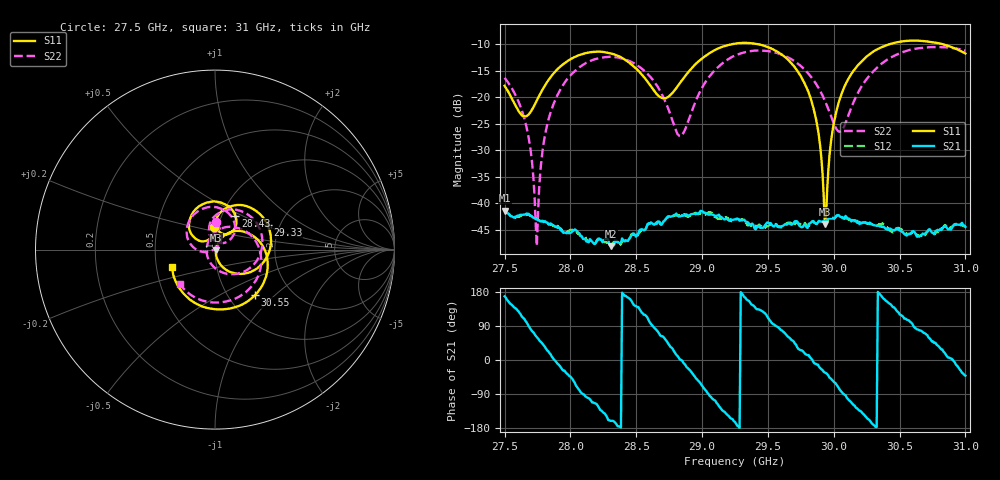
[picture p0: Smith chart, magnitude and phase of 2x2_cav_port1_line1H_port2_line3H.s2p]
!Created with skrf (http://scikit-rf.org).
# GHz S RI R 50.0
!freq ReS11 ImS11 ReS21 ImS21 ReS12 ImS12 ReS22 ImS22
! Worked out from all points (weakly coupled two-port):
!   401 points, 27.5 GHz to 31 GHz, reference 50 ohm
!   highest |S21| = -41.37 dB at 27.5 GHz (marker M1); lowest = -48.1 dB at 28.3 GHz (marker M2)
!   lowest |S11| = -43.9 dB at 29.93 GHz (marker M3), VSWR 1.01, Z = 50.5 - j0.367 ohm
!   |S11| at or under -10 dB: start of sweep to 29.23 GHz; 29.42 GHz to 30.43 GHz (1.011 GHz wide, 3.38 % of centre); 30.82 GHz to end of sweep
!   |S22| runs from -48.0 to -10.6 dB; largest |S21 - S12| = 0.0007
!   S11 on the Smith chart (normalised r, x): 27.5 GHz: 0.96, +0.25; 28.43 GHz: 1.16, +0.46; 29.33 GHz: 1.72, +0.53; 30.55 GHz: 1.33, -0.76; 31 GHz: 0.60, -0.12
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27.5  -0.00677 0.1276  -0.00836 0.00179  -0.00832 0.00158  0.00305 0.1519
27.6575  -0.0358 0.0552  -0.00189 0.00765  -0.00187 0.00749  0.0322 0.0482
27.745  -0.0804 0.047  0.00357 0.00623  0.00359 0.00612  -0.00301 0.00258
27.78875  -0.1034 0.0575  0.00497 0.00454  0.00516 0.00454  -0.0302 -0.00962
27.85  -0.13 0.084  0.00626 0.00165  0.00609 0.0016  -0.0711 -0.0124
28.08625  -0.0986 0.2336  0.000167 -0.00487  0.000444 -0.00486  -0.156 0.1223
28.305  0.0585 0.251  -0.00373 -0.00131  -0.00384 -0.00155  -0.0348 0.2371
28.4275  0.1134 0.1876  -0.00434 0.000993  -0.00438 0.000956  0.0581 0.2159
28.6725  0.0578 0.0835  0.00224 0.00634  0.00217 0.00634  0.0966 0.0705
28.83875  0.00329 0.1396  0.00756 1.45e-05  0.00768 8.3e-05  0.0122 0.041
29.03125  0.0731 0.2357  0.00115 -0.00798  0.00155 -0.00779  -0.0297 0.1391
29.25  0.2491 0.1991  -0.0068 -0.002  -0.00672 -0.00205  0.1037 0.2234
29.32875  0.2929 0.1382  -0.0065 0.00182  -0.00636 0.00205  0.1709 0.2027
29.64375  0.1923 -0.1272  0.00264 0.00572  0.00269 0.00585  0.2311 -0.0646
29.83625  0.029 -0.0823  0.0068 8.94e-05  0.00669 2.15e-05  0.0672 -0.1348
29.88875  0.00869 -0.0409  0.0065 -0.00213  0.00659 -0.00199  0.0209 -0.1179
29.9325  0.00525 -0.00364  0.00564 -0.00371  0.00562 -0.00353  -0.0113 -0.0921
29.99375  0.022 0.0456  0.0041 -0.00592  0.00428 -0.00599  -0.0405 -0.0436
30.0725  0.0737 0.0924  8.63e-05 -0.00733  0.00016 -0.00724  -0.0429 0.0275
30.4225  0.2913 -0.119  -0.00495 0.00298  -0.00457 0.00328  0.2277 0.0458
30.545  0.2233 -0.2532  -0.00166 0.00477  -0.00158 0.00502  0.2554 -0.0898
31  -0.239 -0.0951  0.00451 -0.00397  0.00458 -0.00394  -0.1973 -0.1919
